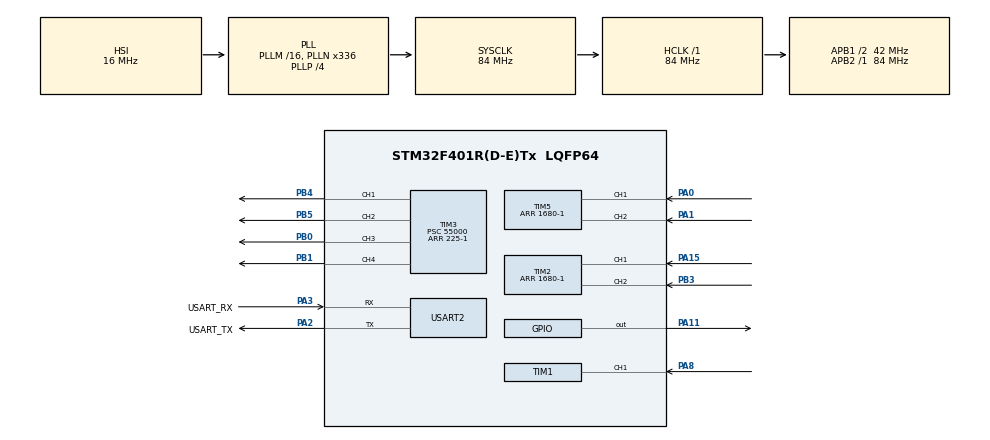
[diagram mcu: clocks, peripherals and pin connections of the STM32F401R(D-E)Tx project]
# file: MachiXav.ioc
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Mcu.Family=STM32F4
Mcu.Name=STM32F401R(D-E)Tx
Mcu.Package=LQFP64
NVIC.PriorityGroup=NVIC_PRIORITYGROUP_0
NVIC.TIM1_BRK_TIM9_IRQn=true\:0\:0\:false\:false\:true\:true\:true
NVIC.TIM1_CC_IRQn=true\:0\:0\:false\:false\:true\:true\:true
NVIC.TIM1_TRG_COM_TIM11_IRQn=true\:0\:0\:false\:false\:true\:true\:true
NVIC.TIM1_UP_TIM10_IRQn=true\:0\:0\:false\:false\:true\:true\:true
PA0-WKUP.Signal=S_TIM5_CH1
PA1.Signal=S_TIM5_CH2
PA11.Signal=GPIO_Output
PA13.Mode=Serial_Wire
PA13.Signal=SYS_JTMS-SWDIO
PA14.Mode=Serial_Wire
PA14.Signal=SYS_JTCK-SWCLK
PA15.Signal=S_TIM2_CH1_ETR
PA2.GPIO_Label=USART_TX
PA2.GPIO_Mode=GPIO_MODE_AF_PP
PA2.GPIO_PuPd=GPIO_NOPULL
PA2.GPIO_Speed=GPIO_SPEED_FREQ_LOW
PA2.Mode=Asynchronous
PA2.Signal=USART2_TX
PA3.GPIO_Label=USART_RX
PA3.GPIO_Mode=GPIO_MODE_AF_PP
PA3.GPIO_PuPd=GPIO_NOPULL
PA3.GPIO_Speed=GPIO_SPEED_FREQ_LOW
PA3.Mode=Asynchronous
PA3.Signal=USART2_RX
PA8.Signal=S_TIM1_CH1
PB0.Signal=S_TIM3_CH3
PB1.Signal=S_TIM3_CH4
PB3.Signal=S_TIM2_CH2
PB4.Signal=S_TIM3_CH1
PB5.Signal=S_TIM3_CH2
PC14-OSC32_IN.Mode=LSE-External-Oscillator
PC14-OSC32_IN.Signal=RCC_OSC32_IN
PC15-OSC32_OUT.Mode=LSE-External-Oscillator
PC15-OSC32_OUT.Signal=RCC_OSC32_OUT
PH0\ -\ OSC_IN.Mode=HSE-External-Clock-Source
PH0\ -\ OSC_IN.Signal=RCC_OSC_IN
PH1\ -\ OSC_OUT.Mode=HSE-External-Clock-Source
PH1\ -\ OSC_OUT.Signal=RCC_OSC_OUT
ProjectManager.HeapSize=0x200
ProjectManager.StackSize=0x400
ProjectManager.TargetToolchain=Makefile
RCC.48MHZClocksFreq_Value=48000000
RCC.AHBFreq_Value=84000000
RCC.APB1CLKDivider=RCC_HCLK_DIV2
RCC.APB1Freq_Value=42000000
RCC.APB1TimFreq_Value=84000000
RCC.APB2Freq_Value=84000000
RCC.APB2TimFreq_Value=84000000
RCC.CortexFreq_Value=84000000
RCC.HCLKFreq_Value=84000000
RCC.HSE_VALUE=8000000
RCC.HSI_VALUE=16000000
RCC.PLLN=336
RCC.PLLP=RCC_PLLP_DIV4
RCC.PLLQ=7
RCC.SYSCLKFreq_VALUE=84000000
RCC.SYSCLKSource=RCC_SYSCLKSOURCE_PLLCLK
RCC.VCOOutputFreq_Value=336000000
SH.S_TIM1_CH1.0=TIM1_CH1,Input_Capture1_from_TI1
SH.S_TIM2_CH1_ETR.0=TIM2_CH1,Encoder_Interface
SH.S_TIM2_CH2.0=TIM2_CH2,Encoder_Interface
SH.S_TIM3_CH1.0=TIM3_CH1,PWM Generation1 CH1
SH.S_TIM3_CH2.0=TIM3_CH2,PWM Generation2 CH2
SH.S_TIM3_CH3.0=TIM3_CH3,PWM Generation3 CH3
SH.S_TIM3_CH4.0=TIM3_CH4,PWM Generation4 CH4
SH.S_TIM5_CH1.0=TIM5_CH1,Encoder_Interface
SH.S_TIM5_CH2.0=TIM5_CH2,Encoder_Interface
TIM1.Channel-Input_Capture1_from_TI1=TIM_CHANNEL_1
TIM1.ICFilter_CH1=15
TIM1.ICPolarity_CH1=TIM_INPUTCHANNELPOLARITY_BOTHEDGE
TIM1.Period=1000
TIM1.Prescaler=840
TIM10.Period=255-1
TIM10.Prescaler=1250-1
TIM2.Period=1680-1
TIM3.Channel-PWM\ Generation1\ CH1=TIM_CHANNEL_1
TIM3.Channel-PWM\ Generation2\ CH2=TIM_CHANNEL_2
TIM3.Channel-PWM\ Generation3\ CH3=TIM_CHANNEL_3
TIM3.Channel-PWM\ Generation4\ CH4=TIM_CHANNEL_4
TIM3.Period=225-1
TIM3.Prescaler=55000
TIM5.Period=1680-1
USART2.VirtualMode=VM_ASYNC
VP_TIM10_VS_ClockSourceINT.Mode=Enable_Timer
VP_TIM1_VS_ClockSourceINT.Mode=Internal
board=NUCLEO-F401RE

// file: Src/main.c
/* USER CODE BEGIN Header */
/**
  ******************************************************************************
  * @file           : main.c
  * @brief          : Main program body
  ******************************************************************************
  * @attention
  *
  * <h2><center>&copy; Copyright (c) 2019 STMicroelectronics.
  * All rights reserved.</center></h2>
  *
  * This software component is licensed by ST under BSD 3-Clause license,
  * the "License"; You may not use this file except in compliance with the
  * License. You may obtain a copy of the License at:
  *                        opensource.org/licenses/BSD-3-Clause
  *
  ******************************************************************************
  */
/* USER CODE END Header */

#include "main.h"
#include "tim.h"
#include "usart.h"
#include "gpio.h"

/* USER CODE BEGIN Includes */
#include "odometry.h"
#include <stdio.h>
#include "pid.h"
#include "motor.h"

#define D_TIME 1

/* USER CODE END Includes */

/* USER CODE BEGIN PV */
volatile Odometry odometryTrue;
volatile Odometry odometry;
volatile int input_capture;

PID_Configuration pid_conf_sum = {.Kp = 10,
  .Ki = 0,
  .Kd = 0,

  .max_eps = 100000000,
  .position_tolerance = 3,
  .speed_tolerance =1
  };
PID_Configuration pid_conf_diff = {.Kp = 500,
  .Ki = .0,
  .Kd = .0,

  .max_eps = 100000000,
  .position_tolerance = 3,
  .speed_tolerance =1
  };
PID_Status pid_sum = {0};
PID_Status pid_diff = {0};
/* USER CODE END PV */

void SystemClock_Config(void);

/* USER CODE BEGIN 0 */
void HAL_TIM_PeriodElapsedCallback (TIM_HandleTypeDef *htim)
{

  // FIXME : htim 10 is maybe not optimal
  if(htim->Instance == TIM10){
    update_odometry(&odometry);
  }
}

void HAL_TIM_IC_CaptureCallback(TIM_HandleTypeDef *htim)
{
 if (htim->Instance==TIM1)
  {
    input_capture= __HAL_TIM_GetCounter(htim);    //read TIM2 channel 1 capture value
    __HAL_TIM_SetCounter(htim, 0);    //reset counter after input capture interrupt occurs
  }
}

int detectionUS(){
	//envoie signal trigger avant
    HAL_GPIO_TogglePin(GPIOA,GPIO_PIN_11);
    HAL_Delay(0.1);
    HAL_GPIO_TogglePin(GPIOA,GPIO_PIN_11);

    int count = __HAL_TIM_GetCounter(&htim1); //unite cm
    //input_capture = __HAL_TIM_GetCompare(&htim1,TIM_CHANNEL_1);
    HAL_Delay(100);//TEMPS DE CYCLE A DEFINIR

    return count;
}

void getOdometry(double* sum, double* diff){
	*sum = odometry.x;
	*diff = odometry.theta;
}

int avancer(double dest){
	double sum,diff;
	getOdometry(&sum,&diff);

	double voltage_sum = pid(&pid_sum,dest-sum);
    double voltage_diff = pid(&pid_diff,0-diff);

    double voltage_l = voltage_sum - voltage_diff;
    double voltage_r = voltage_sum + voltage_diff;

	motorControl(&htim3,(int)(voltage_l),1);
	motorControl(&htim3,(int)(voltage_r),0);

	if(reached(&pid_sum)){
		return 1;
	}
	else{
		return 0;
	}
}

void stop(){
	motorControl(&htim3,0,1);
	motorControl(&htim3,0,0);
}
/* USER CODE END 0 */

int main(void)
{
  /* USER CODE BEGIN 1 */
  char buffer[50];
  int n;
  /* USER CODE END 1 */

  /* MCU Configuration--------------------------------------------------------*/

  /* Reset of all peripherals, Initializes the Flash interface and the Systick. */
  HAL_Init();

  /* Configure the system clock */
  SystemClock_Config();

  /* Initialize all configured peripherals */
  MX_GPIO_Init();
  MX_TIM1_Init();
  MX_USART2_UART_Init();
  MX_TIM2_Init();
  MX_TIM3_Init();
  MX_TIM5_Init();
  MX_TIM10_Init();
  /* USER CODE BEGIN 2 */
  HAL_TIM_IC_Start_IT(&htim1,TIM_CHANNEL_1);
  /* USER CODE END 2 */

  /* Infinite loop */
  /* USER CODE BEGIN WHILE */
  init_odometry(&odometry,&htim2,&htim5, &htim10);
  init_odometry(&odometryTrue,&htim2,&htim5, &htim10);
  HAL_GPIO_WritePin(LD2_GPIO_Port,LD2_Pin,GPIO_PIN_RESET);
  HAL_TIM_PWM_Start(&htim3,TIM_CHANNEL_1);
  HAL_TIM_PWM_Start(&htim3,TIM_CHANNEL_2);
  HAL_TIM_PWM_Start(&htim3,TIM_CHANNEL_3);
  HAL_TIM_PWM_Start(&htim3,TIM_CHANNEL_4);

  pid_init(&pid_sum,&pid_conf_sum);
  pid_init(&pid_diff,&pid_conf_diff);

  long int count;
  while (1)
  {
    count = detectionUS();

    n=sprintf (buffer, "\033[J\rcount: %ld et capture: %d\n", count, input_capture);
    HAL_UART_Transmit(&huart2,buffer,n,0xFFF);

    avancer(0);
    /* USER CODE END WHILE */

  }
}

void SystemClock_Config(void)
{
  RCC_OscInitTypeDef RCC_OscInitStruct = {0};
  RCC_ClkInitTypeDef RCC_ClkInitStruct = {0};

  /** Configure the main internal regulator output voltage
  */
  __HAL_RCC_PWR_CLK_ENABLE();
  __HAL_PWR_VOLTAGESCALING_CONFIG(PWR_REGULATOR_VOLTAGE_SCALE2);
  /** Initializes the CPU, AHB and APB busses clocks
  */
  RCC_OscInitStruct.OscillatorType = RCC_OSCILLATORTYPE_HSI;
  RCC_OscInitStruct.HSIState = RCC_HSI_ON;
  RCC_OscInitStruct.HSICalibrationValue = RCC_HSICALIBRATION_DEFAULT;
  RCC_OscInitStruct.PLL.PLLState = RCC_PLL_ON;
  RCC_OscInitStruct.PLL.PLLSource = RCC_PLLSOURCE_HSI;
  RCC_OscInitStruct.PLL.PLLM = 16;
  RCC_OscInitStruct.PLL.PLLN = 336;
  RCC_OscInitStruct.PLL.PLLP = RCC_PLLP_DIV4;
  RCC_OscInitStruct.PLL.PLLQ = 7;
  if (HAL_RCC_OscConfig(&RCC_OscInitStruct) != HAL_OK)
  {
    Error_Handler();
  }
  /** Initializes the CPU, AHB and APB busses clocks
  */
  RCC_ClkInitStruct.ClockType = RCC_CLOCKTYPE_HCLK|RCC_CLOCKTYPE_SYSCLK
                              |RCC_CLOCKTYPE_PCLK1|RCC_CLOCKTYPE_PCLK2;
  RCC_ClkInitStruct.SYSCLKSource = RCC_SYSCLKSOURCE_PLLCLK;
  RCC_ClkInitStruct.AHBCLKDivider = RCC_SYSCLK_DIV1;
  RCC_ClkInitStruct.APB1CLKDivider = RCC_HCLK_DIV2;
  RCC_ClkInitStruct.APB2CLKDivider = RCC_HCLK_DIV1;

  if (HAL_RCC_ClockConfig(&RCC_ClkInitStruct, FLASH_LATENCY_2) != HAL_OK)
  {
    Error_Handler();
  }
}

void Error_Handler(void)
{
}

/************************ (C) COPYRIGHT STMicroelectronics *****END OF FILE****/
